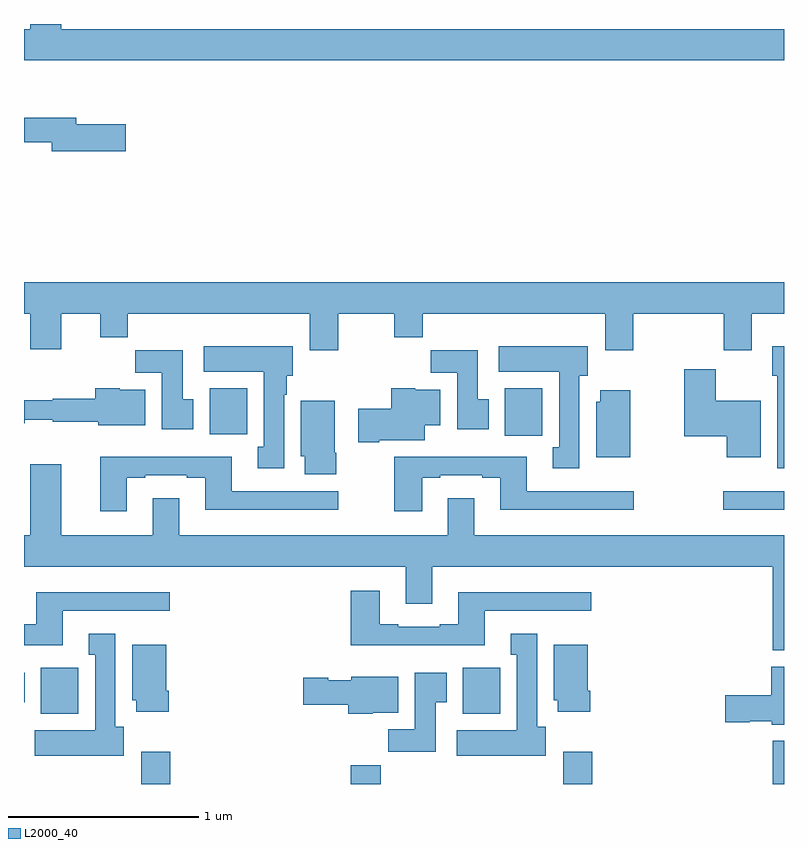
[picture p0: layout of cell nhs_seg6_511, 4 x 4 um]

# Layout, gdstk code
import gdstk
lib = gdstk.Library(unit=1e-6, precision=1e-09)
def R(c, l, rs):  # rectangles x0, y0, x1, y1
    for r in rs: c.add(gdstk.rectangle(r[:2], r[2:], *l))
def P(c, l, *ps):  # polygons
    for p in ps: c.add(gdstk.Polygon(p, *l))
L2000_40 = (2000, 40)

nhs_seg6_511 = lib.new_cell('nhs_seg6_511')
R(nhs_seg6_511, L2000_40, [(141.617,971.5,141.77,971.671), (142.721,971.5,142.877,971.6), (143.837,971.5,143.99,971.671), (144.941,971.5,145,971.728), (141.089,971.87,141.286,972.112), (143.309,971.87,143.506,972.112), (141,971.929,141.004,972.085), (144.681,972.944,145,973.041), (143.531,973.332,143.727,973.582), (141.977,973.34,142.174,973.582)])
P(nhs_seg6_511, L2000_40, [(145,975.472),(141.196,975.472),(141.196,975.5),(141.032,975.5),(141.032,975.472),(141,975.472),(141,975.308),(145,975.308)],
  [(141.535,974.973),(141.274,974.973),(141.274,975.007),(141,975.007),(141,974.878),(141.146,974.878),(141.146,974.831),(141.535,974.831)],
  [(142.653,973.976),(142.948,973.976),(142.948,973.852),(143.099,973.852),(143.099,973.976),(144.059,973.976),(144.059,973.782),(144.207,973.782),(144.207,973.976),(144.682,973.976),(144.682,973.782),(144.829,973.782),(144.829,973.976),(145,973.976),(145,974.14),(141,974.14),(141,973.976),(141.032,973.976),(141.032,973.788),(141.196,973.788),(141.196,973.976),(141.401,973.976),(141.401,973.852),(141.545,973.852),(141.545,973.976),(142.505,973.976),(142.505,973.782),(142.653,973.782)],
  [(142.369,973.55),(142.384,973.55),(142.384,973.65),(142.414,973.65),(142.414,973.804),(141.945,973.804),(141.945,973.67),(142.262,973.67),(142.262,973.274),(142.229,973.274),(142.229,973.161),(142.369,973.161)],
  [(143.923,973.65),(143.968,973.65),(143.968,973.804),(143.499,973.804),(143.499,973.67),(143.816,973.67),(143.816,973.273),(143.783,973.273),(143.783,973.161),(143.923,973.161)],
  [(145,973.804),(144.938,973.804),(144.938,973.65),(144.965,973.65),(144.965,973.161),(145,973.161)],
  [(141.892,973.524),(141.835,973.524),(141.835,973.783),(141.586,973.783),(141.586,973.664),(141.725,973.664),(141.725,973.368),(141.892,973.368)],
  [(143.446,973.524),(143.389,973.524),(143.389,973.783),(143.14,973.783),(143.14,973.664),(143.279,973.664),(143.279,973.368),(143.446,973.368)],
  [(144.877,973.516),(144.642,973.516),(144.642,973.684),(144.476,973.684),(144.476,973.331),(144.698,973.331),(144.698,973.22),(144.877,973.22)],
  [(141.637,973.576),(141.504,973.576),(141.504,973.582),(141.374,973.582),(141.374,973.528),(141.15,973.528),(141.15,973.52),(141,973.52),(141,973.399),(141.003,973.399),(141.003,973.417),(141.15,973.417),(141.15,973.406),(141.39,973.406),(141.39,973.388),(141.637,973.388)],
  [(142.87,973.31),(143.11,973.31),(143.11,973.388),(143.191,973.388),(143.191,973.576),(143.058,973.576),(143.058,973.582),(142.933,973.582),(142.933,973.476),(142.758,973.476),(142.758,973.298),(142.87,973.298)],
  [(144.19,973.573),(144.032,973.573),(144.032,973.512),(144.011,973.512),(144.011,973.22),(144.19,973.22)],
  [(142.644,973.243),(142.636,973.243),(142.636,973.516),(142.457,973.516),(142.457,973.224),(142.478,973.224),(142.478,973.131),(142.644,973.131)],
  [(143.095,973.113),(143.191,973.113),(143.191,973.125),(143.411,973.125),(143.411,973.113),(143.507,973.113),(143.507,972.944),(144.208,972.944),(144.208,973.041),(143.647,973.041),(143.647,973.222),(142.948,973.222),(142.948,972.936),(143.095,972.936)],
  [(141.541,973.113),(141.637,973.113),(141.637,973.125),(141.857,973.125),(141.857,973.113),(141.953,973.113),(141.953,972.944),(142.654,972.944),(142.654,973.041),(142.093,973.041),(142.093,973.222),(141.401,973.222),(141.401,972.936),(141.541,972.936)],
  [(141.032,973.183),(141.032,972.808),(141,972.808),(141,972.644),(143.009,972.644),(143.009,972.45),(143.149,972.45),(143.149,972.644),(144.941,972.644),(144.941,972.203),(145,972.203),(145,972.808),(143.371,972.808),(143.371,973.003),(143.231,973.003),(143.231,972.808),(141.817,972.808),(141.817,973.003),(141.677,973.003),(141.677,972.808),(141.196,972.808),(141.196,973.183)],
  [(143.425,972.411),(143.986,972.411),(143.986,972.508),(143.285,972.508),(143.285,972.34),(143.189,972.34),(143.189,972.327),(142.969,972.327),(142.969,972.34),(142.873,972.34),(142.873,972.517),(142.721,972.517),(142.721,972.23),(143.425,972.23)],
  [(141.205,972.411),(141.766,972.411),(141.766,972.508),(141.065,972.508),(141.065,972.34),(141,972.34),(141,972.23),(141.205,972.23)],
  [(141.526,971.802),(141.481,971.802),(141.481,972.292),(141.341,972.292),(141.341,972.179),(141.374,972.179),(141.374,971.782),(141.057,971.782),(141.057,971.648),(141.526,971.648)],
  [(143.746,971.802),(143.701,971.802),(143.701,972.292),(143.561,972.292),(143.561,972.179),(143.594,972.179),(143.594,971.782),(143.277,971.782),(143.277,971.648),(143.746,971.648)],
  [(141.761,971.992),(141.748,971.992),(141.748,972.232),(141.569,972.232),(141.569,971.94),(141.59,971.94),(141.59,971.88),(141.761,971.88)],
  [(143.981,971.992),(143.968,971.992),(143.968,972.232),(143.789,972.232),(143.789,971.94),(143.81,971.94),(143.81,971.88),(143.981,971.88)],
  [(145,972.118),(144.932,972.118),(144.932,971.966),(144.69,971.966),(144.69,971.824),(144.819,971.824),(144.819,971.831),(144.936,971.831),(144.936,971.813),(145,971.813)],
  [(143.167,971.929),(143.224,971.929),(143.224,972.085),(143.057,972.085),(143.057,971.788),(142.918,971.788),(142.918,971.67),(143.167,971.67)],
  [(142.836,971.876),(142.969,971.876),(142.969,972.064),(142.722,972.064),(142.722,972.046),(142.602,972.046),(142.602,972.059),(142.47,972.059),(142.47,971.917),(142.706,971.917),(142.706,971.87),(142.836,971.87)])

lib.write_gds('nhs_seg6_511.gds')
